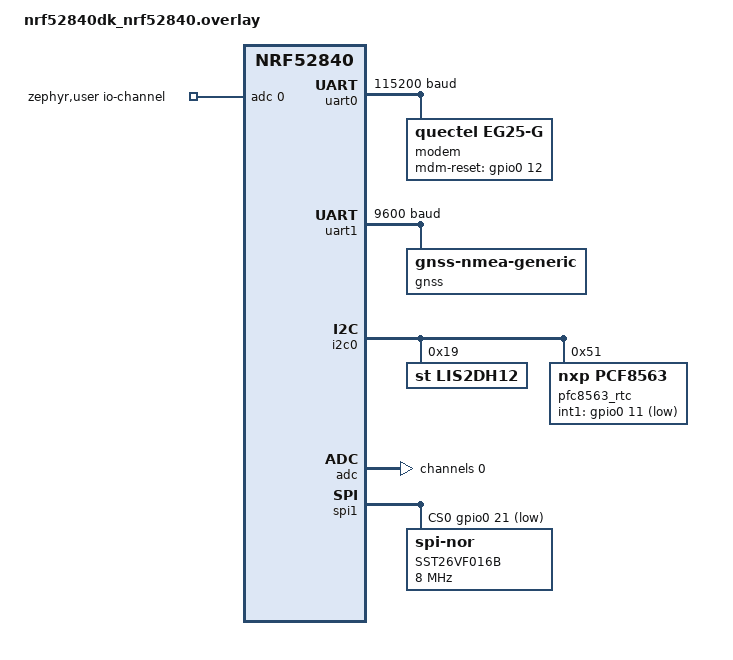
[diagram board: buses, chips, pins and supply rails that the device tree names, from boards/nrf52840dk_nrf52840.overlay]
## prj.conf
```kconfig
CONFIG_PM_DEVICE=y
CONFIG_GPIO=y
CONFIG_CRC=y
CONFIG_POWEROFF=y
CONFIG_RTT_CONSOLE=y
CONFIG_UART_CONSOLE=n


CONFIG_I2C=y
CONFIG_SENSOR=y
CONFIG_CBPRINTF_FP_SUPPORT=y
CONFIG_RTC=y
CONFIG_FLASH=y
CONFIG_SPI=y
CONFIG_ADC=y
CONFIG_GNSS=y
CONFIG_UART_INTERRUPT_DRIVEN=y
CONFIG_BOARD_ENABLE_DCDC=y

# # Modem driver
CONFIG_MODEM=y


CONFIG_LIS2DH_OPER_MODE_LOW_POWER=y
CONFIG_LIS2DH_ODR_1=y



CONFIG_RTC_ALARM=y
CONFIG_COUNTER=y

CONFIG_RTC=y
CONFIG_RTC_PCF8563=y
```

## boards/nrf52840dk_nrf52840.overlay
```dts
/ {
    zephyr,user {
        io-channels = <&adc 0>;
    };
};


/ {
	aliases {
		modemuart = &uart0;
		gnssuart = &uart1;
		modem = &modem;
		gpio0 = &gpio0;
		gpio1 = &gpio1;
		adc0 =  &adc;
		spiflash = &spi1;
		spiflash0 = &SST26VF016B;
		gnss = &gnss;
		modem = &modem;
		timerrtc = &pfc8563_rtc;
		adc = &adc;
		i2c0 = &i2c0;
	};
};

/{
chosen {
	zephyr,console = &uart0;
	zephyr,shell-uart = &uart0;
	zephyr,uart-mcumgr = &uart0;
	zephyr,bt-mon-uart = &uart0;
	zephyr,bt-c2h-uart = &uart0;
	zephyr,sram = &sram0;
	zephyr,flash = &flash0;
	// zephyr,code-partition = &slot0_partition;
	nordic,pm-ext-flash = &SST26VF016B;
};


leds {
	compatible = "gpio-leds";
	led0: led_0 {
		status = "disabled";
		gpios = <&gpio0 13 GPIO_ACTIVE_LOW>;
		label = "Green LED 0";
	};
	led1: led_1 {
		status = "disabled";
		gpios = <&gpio0 14 GPIO_ACTIVE_LOW>;
		label = "Green LED 1";
	};
	led2: led_2 {
		status = "disabled";
		gpios = <&gpio0 15 GPIO_ACTIVE_LOW>;
		label = "Green LED 2";
	};
	led3: led_3 {
		status = "disabled";
		gpios = <&gpio0 16 GPIO_ACTIVE_LOW>;
		label = "Green LED 3";
	};
};

pwmleds {
	compatible = "pwm-leds";
	status = "disabled";
	pwm_led0: pwm_led_0 {
		pwms = <&pwm0 0 PWM_MSEC(20) PWM_POLARITY_INVERTED>;
	};
};

buttons {
	compatible = "gpio-keys";
	button0: button_0 {
		status = "disabled";
		gpios = <&gpio1 0 (GPIO_PULL_UP | GPIO_ACTIVE_HIGH)>;
		label = "Push button switch 0";
		zephyr,code = <INPUT_KEY_0>;
	};
	button1: button_1 {
		status = "disabled";
		gpios = <&gpio0 12 (GPIO_PULL_UP | GPIO_ACTIVE_LOW)>;
		label = "Push button switch 1";
		zephyr,code = <INPUT_KEY_1>;
	};
	button2: button_2 {
		status = "disabled";
		gpios = <&gpio0 24 (GPIO_PULL_UP | GPIO_ACTIVE_LOW)>;
		label = "Push button switch 2";
		zephyr,code = <INPUT_KEY_2>;
	};
	button3: button_3 {
		status = "disabled";
		gpios = <&gpio0 25 (GPIO_PULL_UP | GPIO_ACTIVE_LOW)>;
		label = "Push button switch 3";
		zephyr,code = <INPUT_KEY_3>;
	};
};

};
&uart0 {
	compatible = "nordic,nrf-uarte";
	status = "okay";
	current-speed = <115200>;
	modem: modem {
		compatible = "quectel,eg25-g";
		// mdm-power-gpios = <&gpio0 12 GPIO_ACTIVE_HIGH>;
		mdm-reset-gpios = <&gpio0 12 GPIO_ACTIVE_HIGH>;
		status = "okay";
	};
};

&pinctrl {
	uart0_default: uart0_default {
		group1 {
			psels = <NRF_PSEL(UART_TX, 0, 19)>;
					// <NRF_PSEL(UART_RTS, 0, 5)>;
		};
		group2 {
			psels = <NRF_PSEL(UART_RX, 0, 20)>;
					// <NRF_PSEL(UART_CTS, 0, 7)>;
			bias-pull-up;
		};
	};

	uart0_sleep: uart0_sleep {
		group1 {
			psels = <NRF_PSEL(UART_TX, 0, 19)>,
					<NRF_PSEL(UART_RX, 0, 20)>;
					// <NRF_PSEL(UART_RTS, 0, 5)>,
					// <NRF_PSEL(UART_CTS, 0, 7)>;
			low-power-enable;
		};
	};
	
	spi1_default: spi1_default {
		group1 {
			psels = <NRF_PSEL(SPIM_SCK, 0, 23)>,
			        <NRF_PSEL(SPIM_MOSI, 0, 24)>,
			        <NRF_PSEL(SPIM_MISO, 0, 22)>;
		};
	};

	spi1_sleep: spi1_sleep {
		group1 {
			psels = <NRF_PSEL(SPIM_SCK, 0, 23)>,
			        <NRF_PSEL(SPIM_MOSI, 0, 24)>,
			        <NRF_PSEL(SPIM_MISO, 0, 22)>;
			low-power-enable;
		};
	};

	uart1_default: uart1_default {
		group1 {
			psels = <NRF_PSEL(UART_RX, 0, 31)>;
			bias-pull-up;
		};
		group2 {
			psels = <NRF_PSEL(UART_TX, 0, 30)>;
		};
	};

	uart1_sleep: uart1_sleep {
		group1 {
			psels = <NRF_PSEL(UART_RX, 0, 31)>,
				<NRF_PSEL(UART_TX, 0, 30)>;
			low-power-enable;
		};
	};

	i2c0_default: i2c0_default {
		group1 {
			psels = <NRF_PSEL(TWIM_SDA, 0, 13)>,
				<NRF_PSEL(TWIM_SCL, 0, 14)>;
				bias-pull-up;	
		};
	};

	i2c0_sleep: i2c0_sleep {
		group1 {
			psels = <NRF_PSEL(TWIM_SDA, 0, 13)>,
				<NRF_PSEL(TWIM_SCL, 0, 14)>;
				bias-pull-up;
			low-power-enable;
		};
	};
};

&uart1 {
	status = "okay";
	current-speed = <9600>;


	gnss: gnss-nmea-generic {
		status="okay";
		compatible = "gnss-nmea-generic";
		// uart-baudrate = <115200>;
		zephyr,deferred-init;
	};
};

&i2c0 {
	status = "okay";
	lis2dh12: lis2dh12@19 {
        compatible = "st,lis2dh12", "st,lis2dh";
        reg = <0x19>;
        disconnect-sdo-sa0-pull-up;
		// zephyr,deferred-init;
        // irq-gpios = <&gpio1 8 GPIO_ACTIVE_HIGH>;
    };

    pfc8563_rtc: pfc8563@51 {
        compatible = "nxp,pcf8563";
        reg = <0x51>;
        status = "okay";
		int1-gpios = <&gpio0 11 GPIO_ACTIVE_LOW>;
		alarms-count = <1>;
    };

};

&adc {
    #address-cells = <1>;
    #size-cells = <0>;

    channel@0 {
        reg = <0>;
        zephyr,gain = "ADC_GAIN_1_6";
        zephyr,reference = "ADC_REF_INTERNAL";
        zephyr,acquisition-time = <ADC_ACQ_TIME_DEFAULT>;
        zephyr,input-positive = <NRF_SAADC_AIN0>; /* P0.02 */
        zephyr,resolution = <12>;
    };
};



&i2c1 {
	status = "disabled";
};


&spi0 {
	status = "disabled";
};

&spi1 {
	status = "okay";
	cs-gpios = <&gpio0 21 GPIO_ACTIVE_LOW>;
	SST26VF016B: SST26VF016B@0 {
		compatible = "jedec,spi-nor";
		reg = <0>;
		spi-max-frequency = <8000000>;
		requires-ulbpr;
		// label = "SST26VF016B";
		jedec-id = [ BF 26 41 ];
		//sfdp-bfp = [
		//    e5 20 f1 ff  ff ff ff 03  44 eb 08 6b  08 3b 04 bb
		//    ee ff ff ff  ff ff 00 ff  ff ff 00 ff  0c 20 0f 52
		//    10 d8 00 ff  23 72 f5 00  82 ed 04 cc  44 83 68 44
		//    30 b0 30 b0  f7 c4 d5 5c  00 be 29 ff  f0 d0 ff ff
		//];
		size = <16777216>;
		//size = <67108864>;
		status = "okay";
		has-dpd;
		t-enter-dpd = <10000>;
		t-exit-dpd = <35000>;
	};

};

&spi2 {
	status = "disabled";
};
&spi3 {
	status = "disabled";
};

&qspi {
	status = "disabled";
};
```

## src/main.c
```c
/*
 * Copyright (c) 2019 Nordic Semiconductor ASA
 *
 * SPDX-License-Identifier: Apache-2.0
 */

#include "retained.h"

#include <inttypes.h>
#include <stdio.h>

#include <zephyr/device.h>
#include <zephyr/drivers/gpio.h>
#include <zephyr/drivers/uart.h>
#include <zephyr/drivers/rtc.h>
#include <zephyr/drivers/i2c.h>
#include <zephyr/kernel.h>
#include <zephyr/pm/device.h>
#include <zephyr/sys/poweroff.h>
#include <zephyr/sys/util.h>
#include <hal/nrf_gpio.h>
#include <zephyr/drivers/sensor.h>
// static const struct gpio_dt_spec sw0 = GPIO_DT_SPEC_GET(DT_ALIAS(sw0), gpios);


  const struct device *gpio_device = DEVICE_DT_GET(DT_ALIAS(gpio0));
  const struct device *gpio1 = DEVICE_DT_GET(DT_ALIAS(gpio1));
  	const struct device *const cons = DEVICE_DT_GET(DT_CHOSEN(zephyr_console));

	    const struct device *i2c = DEVICE_DT_GET(DT_ALIAS(i2c0));
// PCF8563 I2C address
#define PCF8563_I2C_ADDR 0x51

// Register addresses
#define TIMER_CONTROL_REG 0x0E
#define TIMER_REG 0x0F
#define CONTROL_STATUS_2_REG 0x01

// PCF8563 I2C instance name from the overlay file
#define I2C_DEV DT_LABEL(DT_NODELABEL(i2c0))


// Function to write to an I2C register
int write_register(const struct device *i2c_dev, uint8_t reg_addr, uint8_t value) {
    uint8_t buf[2] = { reg_addr, value };
    return i2c_write(i2c_dev, buf, sizeof(buf), PCF8563_I2C_ADDR);
}

// Function to read from an I2C register
int read_register(const struct device *i2c_dev, uint8_t reg_addr, uint8_t *value) {
    return i2c_write_read(i2c_dev, PCF8563_I2C_ADDR, &reg_addr, 1, value, 1);
}


void gotosleep() {

const struct device *rtc=  DEVICE_DT_GET(DT_ALIAS(timerrtc));

gpio_pin_configure(gpio_device, 5, GPIO_OUTPUT);

  printf("\n%s system off demo\n", CONFIG_BOARD);
  struct rtc_time timeptr;
  rtc_get_time(rtc, &timeptr);
	gpio_pin_set(gpio_device, 5, 1);
  timeptr.tm_sec = 57;

  //     // Write to Timer_control register (0x0E)
  //         uint8_t timer_control = 0x82; // Enable timer, set clock source to 1 Hz
  //   uint8_t timer_value = 0x02;   // Set countdown period to 1 second
  //   uint8_t control_status_2 = 0x00; // Clear any previous status
  // int ret;
  //       ret = read_register(i2c, CONTROL_STATUS_2_REG, &control_status_2);
  //   if (ret != 0) {
  //       printk("Failed to read Control_status_2 register (error %d)\n", ret);
  //       return;
  //   }

  //   control_status_2 |= (1 << 1); // Set TIE (Timer Interrupt Enable)
  //   ret = write_register(i2c, CONTROL_STATUS_2_REG, control_status_2);
  //   if (ret != 0) {
  //       printk("Failed to write Control_status_2 register (error %d)\n", ret);
  //       return;
  //   }

  //    ret = write_register(i2c, TIMER_CONTROL_REG, timer_control);
  //   if (ret != 0) {
  //       printk("Failed to write Timer_control register (error %d)\n", ret);
  //       return;
  //   } else {
  //     printk("write complete 1 \r\n");
  //   }

  //   // Write to Timer register (0x0F)
  //   ret = write_register(i2c, TIMER_REG, timer_value);
  //   if (ret != 0) {
  //       printk("Failed to write Timer register (error %d)\n", ret);
  //       return;
  //   }else {
  //     printk("write complete 2 \r\n");
  //   }



  rtc_set_time(rtc, &timeptr);
  timeptr.tm_min = timeptr.tm_min + 1;


  // MNi_EnableDCDCPower();

  int x = rtc_alarm_set_time(rtc, 0, RTC_ALARM_TIME_MASK_MINUTE, &timeptr);
  printk("setting alarm time +1! %d \r\n", x);

  if (x != 0)
    NVIC_SystemReset();


  //   	int rc = pm_device_action_run(cons, PM_DEVICE_ACTION_SUSPEND);
	// if (rc < 0) {
	// 	printf("Could not suspend console (%d)\n", rc);
	// }


  // k_msleep(1000);
  // nrf_gpio_cfg_input(11, NRF_GPIO_PIN_PULLUP);
  // nrf_gpio_cfg_sense_set(11, NRF_GPIO_PIN_SENSE_LOW);

  
  gpio_pin_configure(gpio_device, 11, GPIO_INPUT | GPIO_PULL_UP);
  gpio_pin_interrupt_configure(gpio_device, 11, GPIO_INT_LEVEL_LOW);
  	gpio_pin_set(gpio_device, 5, 0);
    printk("ENTERING SLEEEP!");
    k_msleep(3000);
  sys_poweroff();
}



int main(void)
{
	// int rc;


    gpio_pin_configure(gpio1, 0, GPIO_OUTPUT);
    gpio_pin_configure(gpio_device, 8, GPIO_OUTPUT);
    gpio_pin_configure(gpio_device, 28, GPIO_OUTPUT);
	gpio_pin_set(gpio1, 0, 0);
      gpio_pin_set(gpio_device, 28, 0);
    gpio_pin_set(gpio_device, 8, 0);
	// gpio_pin_set(gpio_device, 8, 1);
	k_msleep(1000);


      
// gotosleep();

    const struct device *uart0 = DEVICE_DT_GET(DT_ALIAS(modemuart));
    const struct device *uart1 = DEVICE_DT_GET(DT_ALIAS(gnssuart));
    const struct device *spi = DEVICE_DT_GET(DT_ALIAS(spiflash));

    const struct device *adc = DEVICE_DT_GET(DT_ALIAS(adc));
    const struct device *rtc = DEVICE_DT_GET(DT_ALIAS(timerrtc));
    const struct device *modem = DEVICE_DT_GET(DT_ALIAS(modem));
    const struct device *const sensor = DEVICE_DT_GET_ANY(st_lis2dh);
    const struct device *const gnss = DEVICE_DT_GET(DT_ALIAS(gnss));
    const struct device *const flash_dev2 =
    DEVICE_DT_GET(DT_ALIAS(spiflash0));


  if (sensor == NULL) {
    printf("No device found\n");
  }
  if (!device_is_ready(sensor)) {
    printf("Device %s is not ready\n", sensor->name);
  }

  struct sensor_value accel[3];
  int rc = sensor_sample_fetch(sensor);
  if (rc == 0) {
    rc = sensor_channel_get(sensor, SENSOR_CHAN_ACCEL_XYZ, accel);
  }
  printf("x %f , y %f , z %f \r\n", sensor_value_to_double(&accel[0]),
         sensor_value_to_double(&accel[1]), sensor_value_to_double(&accel[2]));

  // Disable the device
  // struct sensor_value odr = {
  //     .val1 = 1,
  // };

  // rc = sensor_attr_set(sensor, SENSOR_CHAN_ACCEL_XYZ,
  //                      SENSOR_ATTR_SAMPLING_FREQUENCY, &odr);
    //  const struct device *spi = DEVICE_DT_GET(DT_NODELABEL(spi1));
  pm_device_action_run(sensor, PM_DEVICE_ACTION_SUSPEND);
    //  pm_device_action_run(spi,PM_DEVICE_ACTION_SUSPEND);

  rc= pm_device_action_run(spi, PM_DEVICE_ACTION_SUSPEND);
		if (rc < 0) {
		printk("Could not suspend console (%d)\n", rc);
	}

  rc= pm_device_action_run(i2c, PM_DEVICE_ACTION_SUSPEND);
	  		if (rc < 0) {
		printk("Could not suspend console (%d)\n", rc);
	}
  rc= pm_device_action_run(uart1, PM_DEVICE_ACTION_SUSPEND);
	  		if (rc < 0) {
		printk("Could not suspend console (%d)\n", rc);
	}
  rc= pm_device_action_run(uart0, PM_DEVICE_ACTION_SUSPEND);
	  		if (rc < 0) {
		printk("Could not suspend console (%d)\n", rc);

	}

    gpio_pin_configure(gpio_device, 28, GPIO_OUTPUT);
    gpio_pin_configure(gpio_device, 12, GPIO_OUTPUT);

    // gpio_pin_configure(gpio_device, 4, GPIO_DISCONNECTED);
    // gpio_pin_configure(gpio_device, 5, GPIO_DISCONNECTED);
    // gpio_pin_configure(gpio_device, 7, GPIO_DISCONNECTED);

    // gpio_pin_configure(gpio_device, 11, GPIO_DISCONNECTED);
    // gpio_pin_configure(gpio_device, 17, GPIO_DISCONNECTED);
    // gpio_pin_configure(gpio_device, 3, GPIO_DISCONNECTED);
    // gpio_pin_configure(gpio1, 8, GPIO_INPUT);
    // gpio_pin_configure(gpio1, 15, GPIO_DISCONNECTED);


    // gpio_pin_configure(gpio_device, 13, GPIO_INPUT | GPIO_PULL_UP);
    // gpio_pin_configure(gpio_device, 14, GPIO_INPUT | GPIO_PULL_UP);

// sd_power_dcdc_mode_set(NRF_POWER_DCDC_ENABLE);

	//     gpio_pin_set(gpio_device, 13, 0);
    // gpio_pin_set(gpio_device, 14, 0);
    gpio_pin_set(gpio_device, 28, 0);
    gpio_pin_set(gpio_device, 8, 0);

    // gpio_pin_set(gpio_device, 4, 0);
    // gpio_pin_set(gpio_device, 5, 0);
    // gpio_pin_set(gpio_device, 7, 0);
    // gpio_pin_set(gpio_device, 17, 0);
    // gpio_pin_set(gpio_device, 3, 0);
    // gpio_pin_set(gpio1, 8, 0);
    // gpio_pin_set(gpio1, 15, 0);
    // gpio_pin_set(gpio_device, 11, 0);
    // gpio_pin_set(gpio_device, 12, 0);
    // gpio_pin_set(gpio_device, 13, 1);
    // gpio_pin_set(gpio_device, 14, 1);
    gpio_pin_set(gpio1, 0, 0);


	if (!device_is_ready(cons)) {
		printf("%s: device not ready.\n", cons->name);
		return 0;
	}

	printf("\n%s system off demo\n", CONFIG_BOARD);

	if (IS_ENABLED(CONFIG_APP_RETENTION)) {
		bool retained_ok = retained_validate();

		/* Increment for this boot attempt and update. */
		retained.boots += 1;
		retained_update();

		printf("Retained data: %s\n", retained_ok ? "valid" : "INVALID");
		printf("Boot count: %u\n", retained.boots);
		printf("Off count: %u\n", retained.off_count);
		printf("Active Ticks: %" PRIu64 "\n", retained.uptime_sum);
	} else {
		printf("Retained data not supported\n");
	}

	/* configure sw0 as input, interrupt as level active to allow wake-up */
	// rc = gpio_pin_configure_dt(&sw0, GPIO_INPUT);
	// if (rc < 0) {
	// 	printf("Could not configure sw0 GPIO (%d)\n", rc);
	// 	return 0;
	// }

	// rc = gpio_pin_interrupt_configure_dt(&sw0, GPIO_INT_LEVEL_ACTIVE);
	// if (rc < 0) {
	// 	printf("Could not configure sw0 GPIO interrupt (%d)\n", rc);
	// 	return 0;
	// }

	// printf("Entering system off; press sw0 to restart\n");

	// rc = pm_device_action_run(cons, PM_DEVICE_ACTION_SUSPEND);
	// if (rc < 0) {
	// 	printf("Could not suspend console (%d)\n", rc);
	// }

	// if (IS_ENABLED(CONFIG_APP_RETENTION)) {
	// 	/* Update the retained state */
	// 	retained.off_count += 1;
	// 	retained_update();
	// }

	sys_poweroff();
	// k_msleep(50000);

	return 0;
}
```
